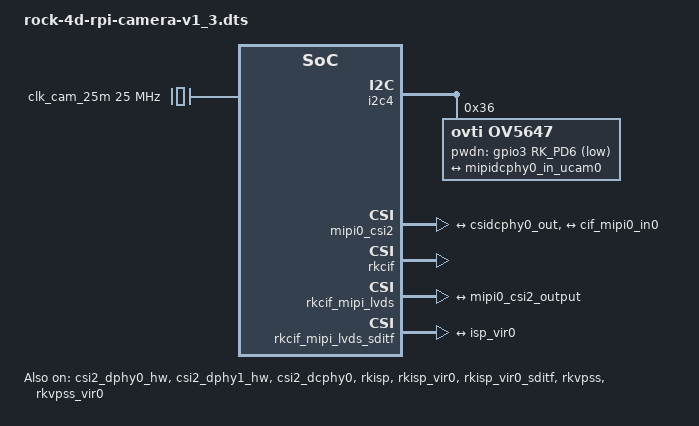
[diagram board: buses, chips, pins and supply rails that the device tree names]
/dts-v1/;
/plugin/;

#include <dt-bindings/gpio/gpio.h>
#include <dt-bindings/pinctrl/rockchip.h>

/ {
	metadata {
		title ="Enable Raspberry Pi Camera v1.3";
		compatible = "radxa,rock-4d";
		category = "camera";
		exclusive = "csi2_dcphy0";
		description = "Enable Raspberry Pi Camera v1.3.";
	};
};

&{/} {
	clk_cam_25m: external-camera-clock-25m {
		status = "okay";
		compatible = "fixed-clock";
		clock-frequency = <25000000>;
		clock-output-names = "clk_cam_25m";
		#clock-cells = <0>;
	};
};

&i2c4 {
	status = "okay";
	pinctrl-0 = <&i2c4m3_xfer>;
	#address-cells = <1>;
	#size-cells = <0>;

	ov5647: ov5647@36 {
		status = "okay";
		compatible = "ovti,ov5647";
		reg = <0x36>;
		clocks = <&clk_cam_25m>;
		pwdn-gpios = <&gpio3 RK_PD6 GPIO_ACTIVE_LOW>;
		clock-names = "ext_cam_clk";
		rockchip,camera-module-index = <0>;
		rockchip,camera-module-facing = "back";
		rockchip,camera-module-name = "rpi-camera-v1p3";
		rockchip,camera-module-lens-name = "default";

		port {
			ov5647_out0: endpoint {
				remote-endpoint = <&mipidcphy0_in_ucam0>;
				data-lanes = <1 2>;
			};
		};
	};
};

&csi2_dphy0_hw {
	status = "okay";
};

&csi2_dphy1_hw {
	status = "okay";
};

&csi2_dcphy0 {
	status = "okay";

	ports {
		#address-cells = <1>;
		#size-cells = <0>;

		port@0 {
			reg = <0>;
			#address-cells = <1>;
			#size-cells = <0>;

			mipidcphy0_in_ucam0: endpoint@2 {
				reg = <2>;
				remote-endpoint = <&ov5647_out0>;
				data-lanes = <1 2>;
			};
		};

		port@1 {
			reg = <1>;
			#address-cells = <1>;
			#size-cells = <0>;

			csidcphy0_out: endpoint@0 {
				reg = <0>;
				remote-endpoint = <&mipi0_csi2_input>;
			};
		};
	};
};

&mipi0_csi2 {
	status = "okay";

	ports {
		#address-cells = <1>;
		#size-cells = <0>;

		port@0 {
			reg = <0>;
			#address-cells = <1>;
			#size-cells = <0>;

			mipi0_csi2_input: endpoint@1 {
				reg = <1>;
				remote-endpoint = <&csidcphy0_out>;
			};
		};

		port@1 {
			reg = <1>;
			#address-cells = <1>;
			#size-cells = <0>;

			mipi0_csi2_output: endpoint@0 {
				reg = <0>;
				remote-endpoint = <&cif_mipi0_in0>;
			};
		};
	};
};

&rkcif {
	status = "okay";
};

&rkcif_mmu {
	status = "okay";
};

&rkcif_mipi_lvds {
	status = "okay";

	port {
		cif_mipi0_in0: endpoint {
		    remote-endpoint = <&mipi0_csi2_output>;
		};
	};
};

&rkcif_mipi_lvds_sditf {
	status = "okay";

	port {
		mipi_lvds_sditf: endpoint {
			remote-endpoint = <&isp_vir0>;
		};
	};
};

&rkisp_mmu {
	status = "okay";
};

&rkisp {
	status = "okay";
};

&rkisp_vir0 {
	status = "okay";

	port {
		#address-cells = <1>;
		#size-cells = <0>;

		isp_vir0: endpoint@0 {
			reg = <0>;
			remote-endpoint = <&mipi_lvds_sditf>;
		};
	};
};

&rkisp_vir0_sditf {
	status = "okay";
};

&rkvpss {
	status = "okay";
};

&rkvpss_mmu {
	status = "okay";
};

&rkvpss_vir0 {
	status = "okay";
};

&pinctrl {
	camera {
		cam_pwdn_gpio: cam-pwdn-gpio {
			rockchip,pins = <3 RK_PD6 RK_FUNC_GPIO &pcfg_pull_up>;
		};
	};
};
